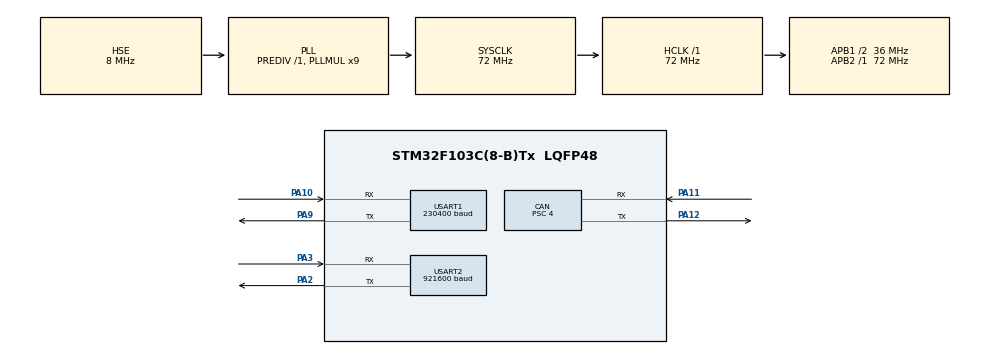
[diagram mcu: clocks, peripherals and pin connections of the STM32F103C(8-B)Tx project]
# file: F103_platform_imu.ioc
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CAN.BS1=CAN_BS1_15TQ
CAN.BS2=CAN_BS2_2TQ
CAN.CalculateBaudRate=500000
CAN.CalculateTimeBit=2000
CAN.CalculateTimeQuantum=111.11111111111111
CAN.Prescaler=4
Dma.Request0=USART1_RX
Dma.USART1_RX.0.Direction=DMA_PERIPH_TO_MEMORY
Dma.USART1_RX.0.Instance=DMA1_Channel5
Dma.USART1_RX.0.MemDataAlignment=DMA_MDATAALIGN_BYTE
Dma.USART1_RX.0.MemInc=DMA_MINC_ENABLE
Dma.USART1_RX.0.Mode=DMA_NORMAL
Dma.USART1_RX.0.PeriphDataAlignment=DMA_PDATAALIGN_BYTE
Dma.USART1_RX.0.PeriphInc=DMA_PINC_DISABLE
Dma.USART1_RX.0.Priority=DMA_PRIORITY_LOW
IWDG.Prescaler=IWDG_PRESCALER_128
IWDG.Reload=625
Mcu.Family=STM32F1
Mcu.Name=STM32F103C(8-B)Tx
Mcu.Package=LQFP48
NVIC.DMA1_Channel5_IRQn=true\:0\:0\:true\:false\:true\:false\:true
NVIC.PriorityGroup=NVIC_PRIORITYGROUP_4
NVIC.USART1_IRQn=true\:5\:0\:true\:false\:true\:true\:true
NVIC.USART2_IRQn=true\:13\:0\:true\:false\:true\:true\:true
NVIC.USB_HP_CAN1_TX_IRQn=true\:7\:0\:true\:false\:true\:true\:true
PA10.GPIO_PuPd=GPIO_PULLUP
PA10.Mode=Asynchronous
PA10.Signal=USART1_RX
PA11.Mode=CAN_Activate
PA11.Signal=CAN_RX
PA12.Mode=CAN_Activate
PA12.Signal=CAN_TX
PA13.Mode=Serial_Wire
PA13.Signal=SYS_JTMS-SWDIO
PA14.Mode=Serial_Wire
PA14.Signal=SYS_JTCK-SWCLK
PA2.Mode=Asynchronous
PA2.Signal=USART2_TX
PA3.Mode=Asynchronous
PA3.Signal=USART2_RX
PA9.Mode=Asynchronous
PA9.Signal=USART1_TX
PD0-OSC_IN.Mode=HSE-External-Oscillator
PD0-OSC_IN.Signal=RCC_OSC_IN
PD1-OSC_OUT.Mode=HSE-External-Oscillator
PD1-OSC_OUT.Signal=RCC_OSC_OUT
ProjectManager.HeapSize=0x200
ProjectManager.StackSize=0x400
ProjectManager.TargetToolchain=STM32CubeIDE
RCC.AHBFreq_Value=72000000
RCC.APB1CLKDivider=RCC_HCLK_DIV2
RCC.APB1Freq_Value=36000000
RCC.APB1TimFreq_Value=72000000
RCC.APB2Freq_Value=72000000
RCC.APB2TimFreq_Value=72000000
RCC.HCLKFreq_Value=72000000
RCC.PLLMUL=RCC_PLL_MUL9
RCC.PLLSourceVirtual=RCC_PLLSOURCE_HSE
RCC.SYSCLKFreq_VALUE=72000000
RCC.SYSCLKSource=RCC_SYSCLKSOURCE_PLLCLK
RCC.USBFreq_Value=72000000
USART1.BaudRate=230400
USART1.VirtualMode=VM_ASYNC
USART2.BaudRate=921600
USART2.VirtualMode=VM_ASYNC
VP_IWDG_VS_IWDG.Mode=IWDG_Activate
board=custom

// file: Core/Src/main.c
/* USER CODE BEGIN Header */
/**
 ******************************************************************************
 * @file           : main.c
 * @brief          : Main program body
 ******************************************************************************
 * @attention
 *
 * Copyright (c) 2022 STMicroelectronics.
 * All rights reserved.
 *
 * This software is licensed under terms that can be found in the LICENSE file
 * in the root directory of this software component.
 * If no LICENSE file comes with this software, it is provided AS-IS.
 *
 ******************************************************************************
 */
/* USER CODE END Header */
#include "main.h"
#include "can.h"
#include "dma.h"
#include "iwdg.h"
#include "usart.h"
#include "gpio.h"

/* USER CODE BEGIN Includes */
#include <stdlib.h>
#include <stdio.h>
#include <string.h>

#include "rwsCanID.h"
/* USER CODE END Includes */

/* USER CODE BEGIN PTD */
#define CAN_BUFSIZE					8

typedef union
{
	float f;
	int32_t i32;
	uint32_t u32;
	uint8_t b[4];
} Union_u;

typedef union
{
	int16_t i16;
	uint8_t b[2];
} Union_YPR;

//typedef struct
//{
//	uint32_t id;
//	volatile bool state;
//	uint8_t data[CAN_BUFSIZE];
//	uint8_t size;
//	uint8_t online;
//	uint32_t debugCounter;
//} TCanRecvBuffer;

typedef struct
{
	uint32_t id;
	uint8_t data[CAN_BUFSIZE];
	uint8_t size;
	uint32_t debugCounter;
} TCanSendBuffer;

/* USER CODE END PTD */

/* USER CODE BEGIN PD */
#define DEBUG_IMU				1

#if DEBUG_IMU==1
#define LOG(str, ...) printf("[%lX %s:%d] " str, HAL_GetTick(), __FILENAME__, __LINE__, ##__VA_ARGS__)
#define LOG_E(str, ...) printf("[%s Err:%d] " str,  __FILENAME__,__LINE__, ##__VA_ARGS__)
#else
#define LOG(str, ...)
#define LOG_E(str, ...)
#endif	//if DEBUG_IMU==1

#define IMU_MAX_BUFSIZE			128
/* USER CODE END PD */

/* USER CODE BEGIN PV */

uint8_t imu_dma_buf[IMU_MAX_BUFSIZE];
char imuBuf[IMU_MAX_BUFSIZE];
uint8_t imu_updated = 0;
uint8_t imu_ready_to_send = 0;
/* CAN BUS */
CAN_TxHeaderTypeDef can1TxHeader;
uint32_t can1TxMailBox;
uint8_t can1TxBuffer[CAN_BUFSIZE];

//TCanSendBuffer canSendYpr = { CAN_ID_RWS_PLAT_YPR, { 0 }, 8, 0 };
TCanSendBuffer canSendYpr = { CAN_ID_RWS_PLAT_YPR_SLOW, { 0 }, 8, 0 };
TCanSendBuffer canSendYprSlow = { CAN_ID_RWS_PLAT_YPR_SLOW, { 0 }, 8, 0 };

uint32_t yprCounter = 0;
//uint32_t yprSlowCounter = 0;

/* USER CODE END PV */

void SystemClock_Config(void);
/* USER CODE BEGIN PFP */
static void CAN_Config();
static void imu_init();
static void imu_handler();
static void bus_init();
static void bus_handler();
/* USER CODE END PFP */

int main(void)
{

	/* MCU Configuration--------------------------------------------------------*/

	/* Reset of all peripherals, Initializes the Flash interface and the Systick. */
	HAL_Init();

	/* Configure the system clock */
	SystemClock_Config();

	/* Initialize all configured peripherals */
	MX_IWDG_Init();
	MX_GPIO_Init();
	MX_CAN_Init();
	MX_DMA_Init();
	MX_USART1_UART_Init();
	MX_USART2_UART_Init();
	/* USER CODE BEGIN 2 */
	/* TODO Init */
	HAL_IWDG_Refresh(&hiwdg);
	HAL_Delay(500);
	retarget_init(&huart2);
	LOG("RWS-IMU on platform firmware!\r\n");

	imu_init();
	bus_init();

	/* USER CODE END 2 */

	/* Infinite loop */
	/* USER CODE BEGIN WHILE */
	uint32_t timer_1s = 0;
	while (1) {
		HAL_IWDG_Refresh(&hiwdg);
		/* USER CODE END WHILE */

		/* USER CODE BEGIN 3 */
		imu_handler();
		bus_handler();

		if (HAL_GetTick() >= timer_1s) {
			timer_1s = HAL_GetTick() + 1000;

			yprCounter = canSendYpr.debugCounter;
			canSendYpr.debugCounter = 0;
			LOG("tes\r\n");
		}
	}
	/* USER CODE END 3 */
}

void SystemClock_Config(void)
{
	RCC_OscInitTypeDef RCC_OscInitStruct = { 0 };
	RCC_ClkInitTypeDef RCC_ClkInitStruct = { 0 };

	/** Initializes the RCC Oscillators according to the specified parameters
	 * in the RCC_OscInitTypeDef structure.
	 */
	RCC_OscInitStruct.OscillatorType = RCC_OSCILLATORTYPE_LSI | RCC_OSCILLATORTYPE_HSE;
	RCC_OscInitStruct.HSEState = RCC_HSE_ON;
	RCC_OscInitStruct.HSEPredivValue = RCC_HSE_PREDIV_DIV1;
	RCC_OscInitStruct.HSIState = RCC_HSI_ON;
	RCC_OscInitStruct.LSIState = RCC_LSI_ON;
	RCC_OscInitStruct.PLL.PLLState = RCC_PLL_ON;
	RCC_OscInitStruct.PLL.PLLSource = RCC_PLLSOURCE_HSE;
	RCC_OscInitStruct.PLL.PLLMUL = RCC_PLL_MUL9;
	if (HAL_RCC_OscConfig(&RCC_OscInitStruct) != HAL_OK) {
		Error_Handler();
	}
	/** Initializes the CPU, AHB and APB buses clocks
	 */
	RCC_ClkInitStruct.ClockType = RCC_CLOCKTYPE_HCLK | RCC_CLOCKTYPE_SYSCLK | RCC_CLOCKTYPE_PCLK1
			| RCC_CLOCKTYPE_PCLK2;
	RCC_ClkInitStruct.SYSCLKSource = RCC_SYSCLKSOURCE_PLLCLK;
	RCC_ClkInitStruct.AHBCLKDivider = RCC_SYSCLK_DIV1;
	RCC_ClkInitStruct.APB1CLKDivider = RCC_HCLK_DIV2;
	RCC_ClkInitStruct.APB2CLKDivider = RCC_HCLK_DIV1;

	if (HAL_RCC_ClockConfig(&RCC_ClkInitStruct, FLASH_LATENCY_2) != HAL_OK) {
		Error_Handler();
	}
}

/* USER CODE BEGIN 4 */
/* TODO user functions */

static void sendToBus(const float yaw, const float pitch, const float roll)
{
	int16_t i16;
	int32_t pitch32, roll32, i32;

	i16 = (int16_t) (yaw * 100.0f);
	canSendYpr.data[0] = i16 & 0xFF;
	canSendYpr.data[1] = (i16 >> 8) & 0xFF;

	pitch32 = (int32_t) (pitch * 1000.0f);
	if (pitch32 < 0)
		i32 = 0x1000000 + pitch32;
	else
		i32 = pitch32;

	canSendYpr.data[2] = i32 & 0xFF;
	canSendYpr.data[3] = (i32 >> 8) & 0xFF;
	canSendYpr.data[4] = (i32 >> 16) & 0xFF;

	roll32 = (int32_t) (roll * 1000.0f);
	if (roll32 < 0)
		i32 = 0x1000000 + roll32;
	else
		i32 = roll32;

	canSendYpr.data[5] = i32 & 0xFF;
	canSendYpr.data[6] = (i32 >> 8) & 0xFF;
	canSendYpr.data[7] = (i32 >> 16) & 0xFF;

	imu_ready_to_send = 1;

//	LOG("%02X %02X %02X %02X %02X %02X %02X %02X\r\n", canSendYpr.data[0], canSendYpr.data[1], canSendYpr.data[2],
//			canSendYpr.data[3], canSendYpr.data[4], canSendYpr.data[5],
//			canSendYpr.data[6], canSendYpr.data[7]);
}

static void imu_init()
{
	memset(imu_dma_buf, 0, IMU_MAX_BUFSIZE);

	HAL_UARTEx_ReceiveToIdle_DMA(&huart1, imu_dma_buf, IMU_MAX_BUFSIZE);
	__HAL_DMA_DISABLE_IT(huart1.hdmarx, DMA_IT_HT);
}

static char** str_split(char *a_str, const char a_delim)
{
	char **result = 0;
	size_t count = 0;
	char *tmp = a_str;
	char *last_comma = 0;
	char delim[2];
	delim[0] = a_delim;
	delim[1] = 0;

	/* Count how many elements will be extracted. */
	while (*tmp) {
		if (a_delim == *tmp) {
			count++;
			last_comma = tmp;
		}
		tmp++;
	}

	/* Add space for trailing token. */
	count += last_comma < (a_str + strlen(a_str) - 1);

	/* Add space for terminating null string so caller
	 knows where the list of returned strings ends. */
	count++;

	result = malloc(sizeof(char*) * count);

	if (result) {
		size_t idx = 0;
		char *token = strtok(a_str, delim);

		while (token) {
			assert(idx < count);
			*(result + idx++) = strdup(token);
			token = strtok(0, delim);
		}
		assert(idx == count - 1);
		*(result + idx) = 0;
	}

	return result;
}

static void imu_handler()
{
	char *s;
	char **tokens;
	float yaw, pitch, roll;

	if (imu_updated == 1) {
		imu_updated = 0;

//		LOG("%s\r\n", imuBuf);
		s = strstr(imuBuf, "$VNYPR,");
		if (s) {
			tokens = str_split(imuBuf, ',');
			if (tokens) {
				for ( int i = 0; *(tokens + i); i++ ) {
					s = *(tokens + i);

					switch (i)
					{
					case 1:
						/* yaw */
						yaw = atof(s);
						break;
					case 2:
						/* pitch */
						pitch = atof(s);
						break;
					case 3:
						/* roll */
						roll = atof(s);
						break;
					}
					free(*(tokens + i));
				}	//for ( int i = 0; *(tokens + i); i++ ) {
				free(tokens);

				LOG("ypr: %.3f %.3f %.3f\t\t%ld\r\n", yaw, pitch, roll, yprCounter);
//				bufLen = sprintf(buf, "ypr= %.3f %.3f %.3f\t%ld %ld\r\n", yaw, pitch, roll,
//						yprCounter, yprSlowCounter);
//				serial_write_str(&debug, buf, bufLen);
				sendToBus(yaw, pitch, roll);
			}	//if (tokens) {
		} /*if (s) {*/

	}
}

/* TODO h/w related */
void HAL_UARTEx_RxEventCallback(UART_HandleTypeDef *huart, uint16_t Size)
{
	if (huart->Instance == USART1) {
		memcpy(imuBuf, imu_dma_buf, IMU_MAX_BUFSIZE);
		memset(imu_dma_buf, 0, IMU_MAX_BUFSIZE);
		imu_updated = 1;

		HAL_UARTEx_ReceiveToIdle_DMA(&huart1, imu_dma_buf, IMU_MAX_BUFSIZE);
		__HAL_DMA_DISABLE_IT(huart1.hdmarx, DMA_IT_HT);
	}

}

static void bus_init()
{
	CAN_Config();
}

static void bus_handler()
{
	if (imu_ready_to_send == 1) {

		// Send Data
		can1TxHeader.StdId = canSendYpr.id;
		can1TxHeader.DLC = canSendYpr.size;
		memcpy(can1TxBuffer, canSendYpr.data, canSendYpr.size);

		if (HAL_CAN_AddTxMessage(&hcan, &can1TxHeader, can1TxBuffer, &can1TxMailBox) == HAL_OK) {
			canSendYpr.debugCounter++;
			imu_ready_to_send = 0;
		}
	}
}

static void CAN_Config()
{
	CAN_FilterTypeDef sFilterConfig;

	/*##-2- Configure the CAN Filter ###########################################*/

	sFilterConfig.FilterBank = 0;
	sFilterConfig.FilterMode = CAN_FILTERMODE_IDMASK;
	sFilterConfig.FilterScale = CAN_FILTERSCALE_32BIT;
	sFilterConfig.FilterIdHigh = 0;
	sFilterConfig.FilterIdLow = 0;
	sFilterConfig.FilterMaskIdHigh = 0;
	sFilterConfig.FilterMaskIdLow = 0;
	sFilterConfig.FilterFIFOAssignment = CAN_RX_FIFO0;
	sFilterConfig.FilterActivation = ENABLE;
	sFilterConfig.SlaveStartFilterBank = 14;

	if (HAL_CAN_ConfigFilter(&hcan, &sFilterConfig) != HAL_OK) {
		/* filter configuration error */
		Error_Handler();
	}

	/*##-3- Start the CAN peripheral ###########################################*/
	if (HAL_CAN_Start(&hcan) != HAL_OK) {
		/* Start Error */
		Error_Handler();
	}

	/*##-4- Activate CAN RX notification #######################################*/
//	if (HAL_CAN_ActivateNotification(&hcan, CAN_IT_RX_FIFO0_MSG_PENDING)
//			!= HAL_OK) {
//		__HAL_CAN_ENABLE_IT(&hcan, CAN_IT_RX_FIFO0_MSG_PENDING);
//	}
	/*##-5- Configure Transmission process #####################################*/
	can1TxHeader.StdId = 0x123;
	can1TxHeader.ExtId = 0x01;
	can1TxHeader.RTR = CAN_RTR_DATA;
	can1TxHeader.IDE = CAN_ID_STD;
	can1TxHeader.DLC = CAN_BUFSIZE;
	can1TxHeader.TransmitGlobalTime = DISABLE;
}

/* USER CODE END 4 */

void Error_Handler(void)
{
	__disable_irq();
	while (1) {
	}
}
